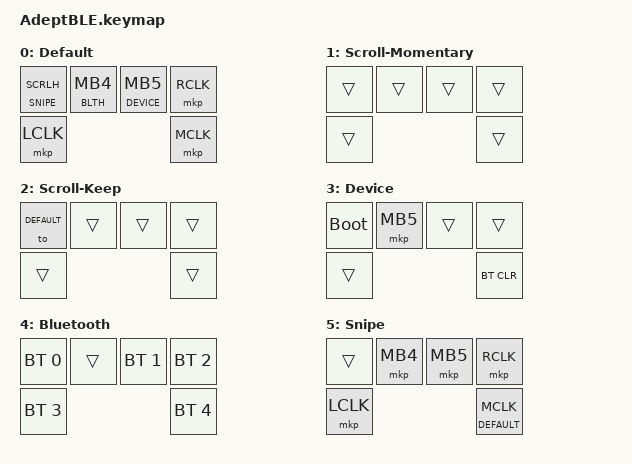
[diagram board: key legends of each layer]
#include <behaviors.dtsi>
#include <dt-bindings/zmk/bt.h>
#include <dt-bindings/zmk/keys.h>
#include <dt-bindings/zmk/pointing.h>
#include <dt-bindings/zmk/outputs.h>

// #include <dt-bindings/zmk/mouse.h>

#define DEFAULT 0
#define SCRLM 1
#define SCRLH 2
#define DEVICE 3
#define BLTH 4
#define SNIPE 5

/ {
  combos {
    compatible = "zmk,combos";
    combo_esc {
      timeout-ms = <50>;
      key-positions = <2 3>;
      bindings = <&mkp RCLK>;
    };
  };
  behaviors {
    ltm: layer-tap-momentary {
      compatible = "zmk,behavior-hold-tap";
      #binding-cells = <2>;
      flavor = "tap-preferred";
      tapping-term-ms = <200>;
      bindings = <&mo>, <&mkp>;
    };
    lth: layer-tap-hold-while-undecided {
      compatible = "zmk,behavior-hold-tap";
      #binding-cells = <2>;
      flavor = "hold-preferred";
      hold-while-undecided;
      tapping-term-ms = <150>;
      bindings = <&mo>, <&mkp>;
    };
    mto: momentary-or-toggle {
      compatible = "zmk,behavior-hold-tap";
      #binding-cells = <2>;
      flavor = "hold-preferred";
      hold-while-undecided;
      tapping-term-ms = <200>;
      bindings = <&mo>, <&to>;
    };
  };
  keymap {
    compatible = "zmk,keymap";
//    default_layer {
//      display-name = "Default";
//      bindings = <
//        &ltm BLTH MB4 &ltm DEVICE MB5 &mkp MCLK &lth SCRLM RCLK
//        &mkp LCLK                               &mto SCRLM SNIPE
//      >;
//    };
    default_layer {
      display-name = "Default";
      bindings = <
        &mto SNIPE SCRLH &ltm BLTH MB4 &ltm DEVICE MB5 &mkp RCLK
        &mkp LCLK                                      &mkp MCLK
      >;
    };
    scroll_tap_layer {
      display-name = "Scroll-Momentary";
      bindings = <
        &trans &trans &trans &trans
        &trans               &trans
      >;
    };
    scroll_hold_layer {
      display-name = "Scroll-Keep";
      bindings = <
        &to DEFAULT &trans &trans &trans
        &trans                    &trans
      >;
    };
    device_layer {
      display-name = "Device";
      bindings = <
        &bootloader &mkp MB5 &trans &trans
        &trans                      &bt BT_CLR
      >;
    };
    bluetooth_layer {
      display-name = "Bluetooth";
      bindings = <
        &bt BT_SEL 0 &trans &bt BT_SEL 1 &bt BT_SEL 2
        &bt BT_SEL 3                     &bt BT_SEL 4
      >;
    };
    snipe_layer {
      display-name = "Snipe";
      bindings = <
        &trans &mkp MB4 &mkp MB5 &mkp RCLK
        &mkp LCLK                &ltm DEFAULT MCLK
      >;
    };
  };
};
